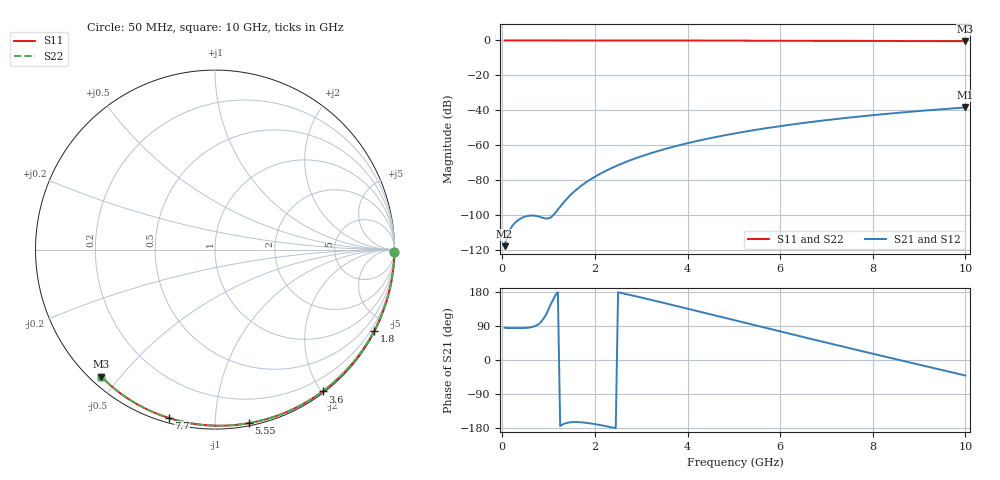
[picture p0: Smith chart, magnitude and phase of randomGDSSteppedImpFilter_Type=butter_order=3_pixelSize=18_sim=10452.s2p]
! freq	dB(S11)	phase(S11)	dB(S12)	phase(S12)
!  dB(S21)	phase(S21)	dB(S22)	phase(S22)
!S-par simulation data
#  GHz  S  DB  R 50
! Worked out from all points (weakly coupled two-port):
!   200 points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, 50 MHz to 10 GHz, reference 50 ohm
!   highest |S21| = -38.36 dB at 10 GHz (marker M1); lowest = -117.7 dB at 50 MHz (marker M2)
!   lowest |S11| = -0.4 dB at 10 GHz (marker M3), VSWR 38.97, Z = 1.54 - j22.3 ohm
!   |S11| at or under -10 dB: nowhere
!   |S22| runs from -0.4 to 0.0 dB; largest |S21 - S12| = 0
!   S11 on the Smith chart (normalised r, x): 50 MHz: open; 1.8 GHz: 0.04, -4.16; 3.6 GHz: 0.02, -2.01; 5.55 GHz: 0.02, -1.22; 7.7 GHz: 0.02, -0.76; 10 GHz: 0.03, -0.45
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0.05  -0.00 -0.8  -117.73 85.3  -117.73 85.3  -0.00 -0.8
0.9  -0.02 -13.6  -101.71 111.0  -101.71 111.0  -0.02 -13.6
1.75  -0.03 -26.3  -82.30 -164.9  -82.30 -164.9  -0.03 -26.3
1.8  -0.03 -27.0  -81.36 -165.6  -81.36 -165.6  -0.03 -27.0
1.85  -0.04 -27.8  -80.47 -166.4  -80.47 -166.4  -0.04 -27.8
1.9  -0.04 -28.5  -79.61 -167.3  -79.61 -167.3  -0.04 -28.5
2.05  -0.04 -30.7  -77.23 -170.2  -77.23 -170.2  -0.04 -30.7
2.25  -0.04 -33.6  -74.43 -174.9  -74.43 -174.9  -0.04 -33.6
2.45  -0.05 -36.5  -71.95 -179.9  -71.95 -179.9  -0.05 -36.5
2.65  -0.05 -39.4  -69.73 174.7  -69.73 174.7  -0.05 -39.4
3  -0.06 -44.4  -66.32 164.9  -66.32 164.9  -0.06 -44.4
3.4  -0.07 -50.0  -62.98 153.2  -62.98 153.2  -0.07 -50.0
3.6  -0.07 -52.8  -61.49 147.3  -61.49 147.3  -0.07 -52.8
4.3  -0.09 -62.4  -56.98 126.4  -56.98 126.4  -0.09 -62.4
5.05  -0.11 -72.4  -53.06 103.9  -53.06 103.9  -0.11 -72.4
5.55  -0.13 -78.9  -50.83 88.9  -50.83 88.9  -0.13 -78.9
6.1  -0.15 -85.9  -48.65 72.5  -48.65 72.5  -0.15 -85.9
6.7  -0.18 -93.3  -46.55 54.7  -46.55 54.7  -0.18 -93.3
7.7  -0.24 -105.3  -43.56 25.3  -43.56 25.3  -0.24 -105.4
8.35  -0.29 -113.0  -41.88 6.4  -41.88 6.4  -0.29 -113.0
9.15  -0.36 -122.2  -40.06 -16.6  -40.06 -16.6  -0.36 -122.2
10  -0.45 -131.8  -38.36 -40.9  -38.36 -40.9  -0.45 -131.8
